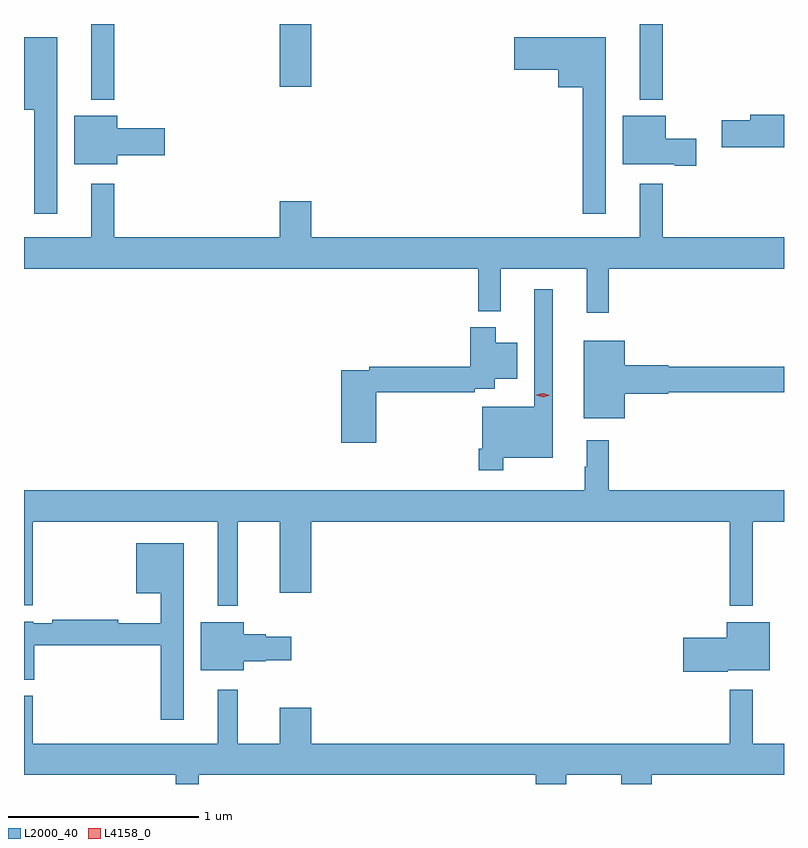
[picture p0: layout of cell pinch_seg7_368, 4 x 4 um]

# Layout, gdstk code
import gdstk
lib = gdstk.Library(unit=1e-6, precision=1e-09)
def R(c, l, rs):  # rectangles x0, y0, x1, y1
    for r in rs: c.add(gdstk.rectangle(r[:2], r[2:], *l))
def P(c, l, *ps):  # polygons
    for p in ps: c.add(gdstk.Polygon(p, *l))
L2000_40 = (2000, 40)
L4158_0 = (4158, 0)

pinch_seg7_368 = lib.new_cell('pinch_seg7_368')
R(pinch_seg7_368, L2000_40, [(487.691,1028.144,487.813,1028.543), (490.577,1028.144,490.699,1028.543), (488.684,1028.214,488.848,1028.543)])
P(pinch_seg7_368, L2000_40, [(490.399,1028.473),(489.918,1028.473),(489.918,1028.303),(490.148,1028.303),(490.148,1028.21),(490.278,1028.21),(490.278,1027.545),(490.399,1027.545)],
  [(487.513,1028.473),(487.337,1028.473),(487.337,1028.093),(487.392,1028.093),(487.392,1027.545),(487.513,1027.545)],
  [(491.337,1028.066),(491.159,1028.066),(491.159,1028.036),(491.01,1028.036),(491.01,1027.894),(491.337,1027.894)],
  [(490.876,1027.94),(490.714,1027.94),(490.714,1028.059),(490.487,1028.059),(490.487,1027.805),(490.763,1027.805),(490.763,1027.798),(490.876,1027.798)],
  [(487.828,1027.852),(488.077,1027.852),(488.077,1027.994),(487.828,1027.994),(487.828,1028.059),(487.601,1028.059),(487.601,1027.805),(487.828,1027.805)],
  [(490.415,1027.256),(491.337,1027.256),(491.337,1027.42),(490.699,1027.42),(490.699,1027.702),(490.577,1027.702),(490.577,1027.42),(488.848,1027.42),(488.848,1027.609),(488.684,1027.609),(488.684,1027.42),(487.813,1027.42),(487.813,1027.702),(487.691,1027.702),(487.691,1027.42),(487.337,1027.42),(487.337,1027.256),(489.727,1027.256),(489.727,1027.031),(489.845,1027.031),(489.845,1027.256),(490.298,1027.256),(490.298,1027.023),(490.415,1027.023)],
  [(489.859,1026.26),(490.12,1026.26),(490.12,1027.147),(490.023,1027.147),(490.023,1026.529),(489.75,1026.529),(489.75,1026.307),(489.73,1026.307),(489.73,1026.195),(489.859,1026.195)],
  [(489.191,1026.604),(489.71,1026.604),(489.71,1026.624),(489.814,1026.624),(489.814,1026.677),(489.934,1026.677),(489.934,1026.865),(489.82,1026.865),(489.82,1026.946),(489.686,1026.946),(489.686,1026.74),(489.154,1026.74),(489.154,1026.72),(489.008,1026.72),(489.008,1026.339),(489.191,1026.339)],
  [(490.498,1026.596),(490.728,1026.596),(490.728,1026.604),(491.337,1026.604),(491.337,1026.74),(490.728,1026.74),(490.728,1026.748),(490.498,1026.748),(490.498,1026.877),(490.283,1026.877),(490.283,1026.467),(490.498,1026.467)],
  [(487.337,1025.483),(487.382,1025.483),(487.382,1025.924),(488.357,1025.924),(488.357,1025.48),(488.461,1025.48),(488.461,1025.924),(488.684,1025.924),(488.684,1025.55),(488.848,1025.55),(488.848,1025.924),(491.052,1025.924),(491.052,1025.48),(491.173,1025.48),(491.173,1025.924),(491.337,1025.924),(491.337,1026.088),(490.415,1026.088),(490.415,1026.352),(490.298,1026.352),(490.298,1026.212),(490.287,1026.212),(490.287,1026.088),(487.337,1026.088)],
  [(488.179,1025.809),(487.928,1025.809),(487.928,1025.546),(488.058,1025.546),(488.058,1025.389),(487.832,1025.389),(487.832,1025.408),(487.486,1025.408),(487.486,1025.388),(487.386,1025.388),(487.386,1025.398),(487.337,1025.398),(487.337,1025.093),(487.39,1025.093),(487.39,1025.272),(488.058,1025.272),(488.058,1024.881),(488.179,1024.881)],
  [(491.04,1025.141),(491.263,1025.141),(491.263,1025.395),(491.036,1025.395),(491.036,1025.312),(490.806,1025.312),(490.806,1025.134),(491.04,1025.134)],
  [(488.494,1025.188),(488.61,1025.188),(488.61,1025.195),(488.743,1025.195),(488.743,1025.317),(488.61,1025.317),(488.61,1025.33),(488.494,1025.33),(488.494,1025.395),(488.267,1025.395),(488.267,1025.141),(488.494,1025.141)],
  [(488.257,1024.592),(490.031,1024.592),(490.031,1024.543),(490.191,1024.543),(490.191,1024.592),(490.48,1024.592),(490.48,1024.543),(490.64,1024.543),(490.64,1024.592),(491.337,1024.592),(491.337,1024.756),(491.173,1024.756),(491.173,1025.038),(491.052,1025.038),(491.052,1024.756),(488.848,1024.756),(488.848,1024.945),(488.684,1024.945),(488.684,1024.756),(488.461,1024.756),(488.461,1025.038),(488.357,1025.038),(488.357,1024.756),(487.382,1024.756),(487.382,1025.008),(487.337,1025.008),(487.337,1024.592),(488.135,1024.592),(488.135,1024.543),(488.257,1024.543)])
P(pinch_seg7_368, L4158_0, [(490.069,1026.579),(490.033,1026.59),(490.033,1026.591),(490.033,1026.591),(490.07,1026.599),(490.105,1026.588),(490.105,1026.588),(490.105,1026.588)])

lib.write_gds('pinch_seg7_368.gds')
